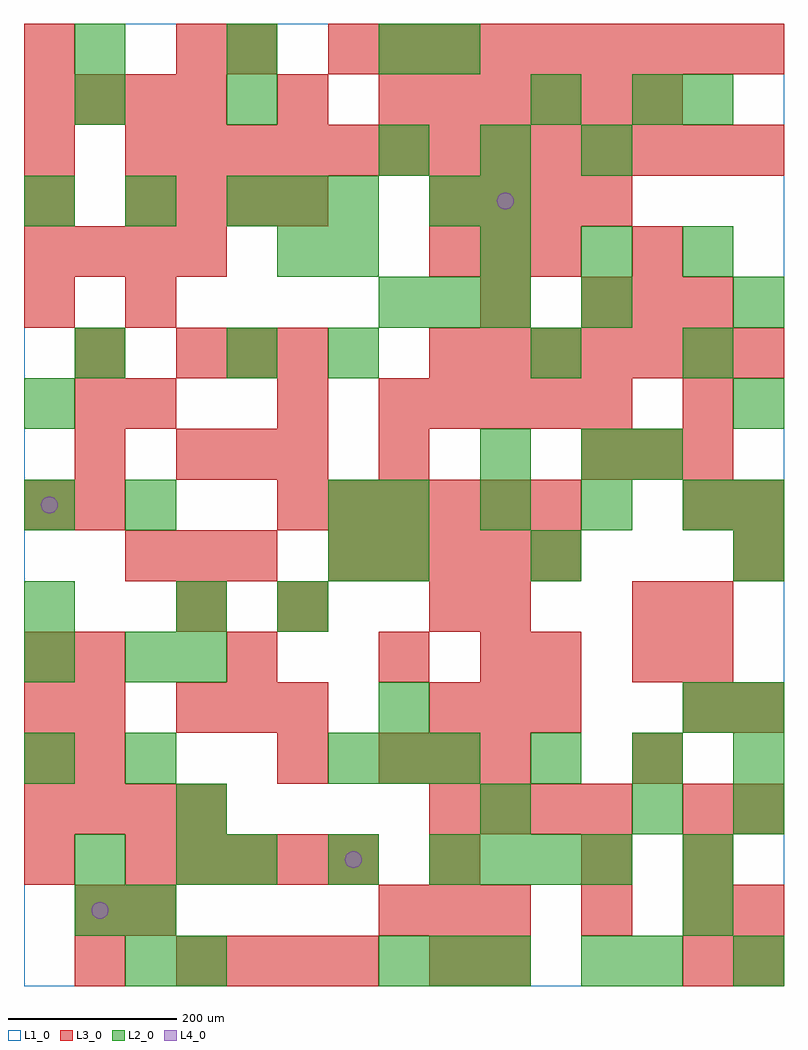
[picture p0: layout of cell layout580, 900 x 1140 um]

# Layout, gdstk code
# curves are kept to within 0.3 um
import gdstk
lib = gdstk.Library(unit=1e-6, precision=1e-09)
def R(c, l, rs):  # rectangles x0, y0, x1, y1
    for r in rs: c.add(gdstk.rectangle(r[:2], r[2:], *l))
def A(c, l, x, y, w, h, nx, ny, dx, dy):  # array of equal rectangles
    R(c, l, [(x+i*dx, y+j*dy, x+i*dx+w, y+j*dy+h) for i in range(nx) for j in range(ny)])
def P(c, l, *ps):  # polygons
    for p in ps: c.add(gdstk.Polygon(p, *l))
L1_0 = (1, 0)
L2_0 = (2, 0)
L3_0 = (3, 0)
L4_0 = (4, 0)

layout580 = lib.new_cell('layout580')
R(layout580, L1_0, [(0,0,900,1140)])
A(layout580, L2_0, 420, 0, 60, 60, 3, 2, 60, 780)
A(layout580, L2_0, 240, 120, 60, 60, 3, 1, 120, 0)
A(layout580, L2_0, 540, 120, 60, 60, 3, 1, 60, 0)
A(layout580, L2_0, 720, 180, 60, 60, 1, 3, 0, 420)
A(layout580, L2_0, 360, 240, 60, 60, 3, 1, 60, 0)
A(layout580, L2_0, 600, 240, 60, 60, 3, 1, 120, 0)
A(layout580, L2_0, 0, 420, 60, 60, 1, 3, 0, 120)
A(layout580, L2_0, 420, 540, 60, 60, 4, 1, 120, 0)
A(layout580, L2_0, 840, 540, 60, 60, 1, 3, 0, 120)
A(layout580, L2_0, 540, 840, 60, 60, 3, 1, 120, 0)
A(layout580, L2_0, 0, 900, 60, 60, 3, 1, 120, 0)
A(layout580, L2_0, 420, 960, 60, 60, 3, 1, 120, 0)
A(layout580, L2_0, 60, 1080, 60, 60, 3, 1, 180, 0)
R(layout580, L2_0, [(120,0,180,60), (180,0,240,60), (660,0,720,60), (720,0,780,60), (840,0,900,60), (60,60,120,120), (120,60,180,120), (780,60,840,120), (60,120,120,180), (180,120,240,180), (780,120,840,180), (180,180,240,240), (540,180,600,240), (840,180,900,240), (0,240,60,300), (120,240,180,300), (420,300,480,360), (780,300,840,360), (840,300,900,360), (0,360,60,420), (120,360,180,420), (180,360,240,420), (180,420,240,480), (300,420,360,480), (360,480,420,540), (420,480,480,540), (600,480,660,540), (840,480,900,540), (120,540,180,600), (360,540,420,600), (540,600,600,660), (660,600,720,660), (60,720,120,780), (240,720,300,780), (360,720,420,780), (600,720,660,780), (780,720,840,780), (660,780,720,840), (300,840,360,900), (360,840,420,900), (300,900,360,960), (360,900,420,960), (480,900,540,960), (540,900,600,960), (60,1020,120,1080), (240,1020,300,1080), (600,1020,660,1080), (780,1020,840,1080), (480,1080,540,1140)])
A(layout580, L3_0, 180, 0, 60, 60, 4, 1, 60, 0)
A(layout580, L3_0, 780, 0, 60, 60, 1, 4, 0, 60)
A(layout580, L3_0, 420, 60, 60, 60, 3, 2, 60, 180)
A(layout580, L3_0, 840, 60, 60, 60, 1, 3, 0, 120)
A(layout580, L3_0, 120, 120, 60, 60, 5, 1, 60, 0)
A(layout580, L3_0, 0, 180, 60, 60, 4, 2, 60, 660)
A(layout580, L3_0, 480, 180, 60, 60, 4, 2, 60, 720)
A(layout580, L3_0, 0, 240, 60, 60, 1, 3, 0, 60)
A(layout580, L3_0, 180, 300, 60, 60, 3, 2, 60, 300)
A(layout580, L3_0, 480, 300, 60, 60, 3, 2, 60, 540)
A(layout580, L3_0, 780, 300, 60, 60, 1, 3, 0, 60)
A(layout580, L3_0, 60, 360, 60, 60, 3, 1, 180, 0)
A(layout580, L3_0, 120, 480, 60, 60, 3, 1, 60, 0)
A(layout580, L3_0, 360, 480, 60, 60, 5, 1, 60, 0)
A(layout580, L3_0, 60, 540, 60, 60, 1, 4, 0, 60)
A(layout580, L3_0, 300, 540, 60, 60, 6, 1, 60, 0)
A(layout580, L3_0, 660, 600, 60, 60, 3, 2, 60, 180)
A(layout580, L3_0, 420, 660, 60, 60, 5, 1, 60, 0)
A(layout580, L3_0, 180, 720, 60, 60, 3, 1, 60, 0)
A(layout580, L3_0, 480, 720, 60, 60, 7, 1, 60, 0)
A(layout580, L3_0, 120, 900, 60, 60, 4, 1, 60, 0)
A(layout580, L3_0, 120, 960, 60, 60, 13, 1, 60, 0)
A(layout580, L3_0, 0, 1020, 60, 60, 4, 1, 60, 0)
A(layout580, L3_0, 420, 1020, 60, 60, 6, 1, 60, 0)
A(layout580, L3_0, 360, 1080, 60, 60, 9, 1, 60, 0)
R(layout580, L3_0, [(60,0,120,60), (480,0,540,60), (540,0,600,60), (840,0,900,60), (60,60,120,120), (120,60,180,120), (660,60,720,120), (0,120,60,180), (480,120,540,180), (660,120,720,180), (60,240,120,300), (300,240,360,300), (720,240,780,300), (60,300,120,360), (540,360,600,420), (600,360,660,420), (720,360,780,420), (180,420,240,480), (300,420,360,480), (480,420,540,480), (540,420,600,480), (720,420,780,480), (840,480,900,540), (0,540,60,600), (780,540,840,600), (840,540,900,600), (420,600,480,660), (120,660,180,720), (300,660,360,720), (780,660,840,720), (0,780,60,840), (120,780,180,840), (540,780,600,840), (720,840,780,900), (0,900,60,960), (0,960,60,1020), (300,1020,360,1080), (0,1080,60,1140), (180,1080,240,1140), (240,1080,300,1140)])
P(layout580, L4_0, [(40,570),(39.239,573.827),(37.071,577.071),(33.827,579.239),(30,580),(26.173,579.239),(22.929,577.071),(20.761,573.827),(20,570),(20.761,566.173),(22.929,562.929),(26.173,560.761),(30,560),(33.827,560.761),(37.071,562.929),(39.239,566.173)],
  [(100,90),(99.239,93.827),(97.071,97.071),(93.827,99.239),(90,100),(86.173,99.239),(82.929,97.071),(80.761,93.827),(80,90),(80.761,86.173),(82.929,82.929),(86.173,80.761),(90,80),(93.827,80.761),(97.071,82.929),(99.239,86.173)],
  [(400,150),(399.239,153.827),(397.071,157.071),(393.827,159.239),(390,160),(386.173,159.239),(382.929,157.071),(380.761,153.827),(380,150),(380.761,146.173),(382.929,142.929),(386.173,140.761),(390,140),(393.827,140.761),(397.071,142.929),(399.239,146.173)],
  [(580,930),(579.239,933.827),(577.071,937.071),(573.827,939.239),(570,940),(566.173,939.239),(562.929,937.071),(560.761,933.827),(560,930),(560.761,926.173),(562.929,922.929),(566.173,920.761),(570,920),(573.827,920.761),(577.071,922.929),(579.239,926.173)])

lib.write_gds('layout580.gds')
